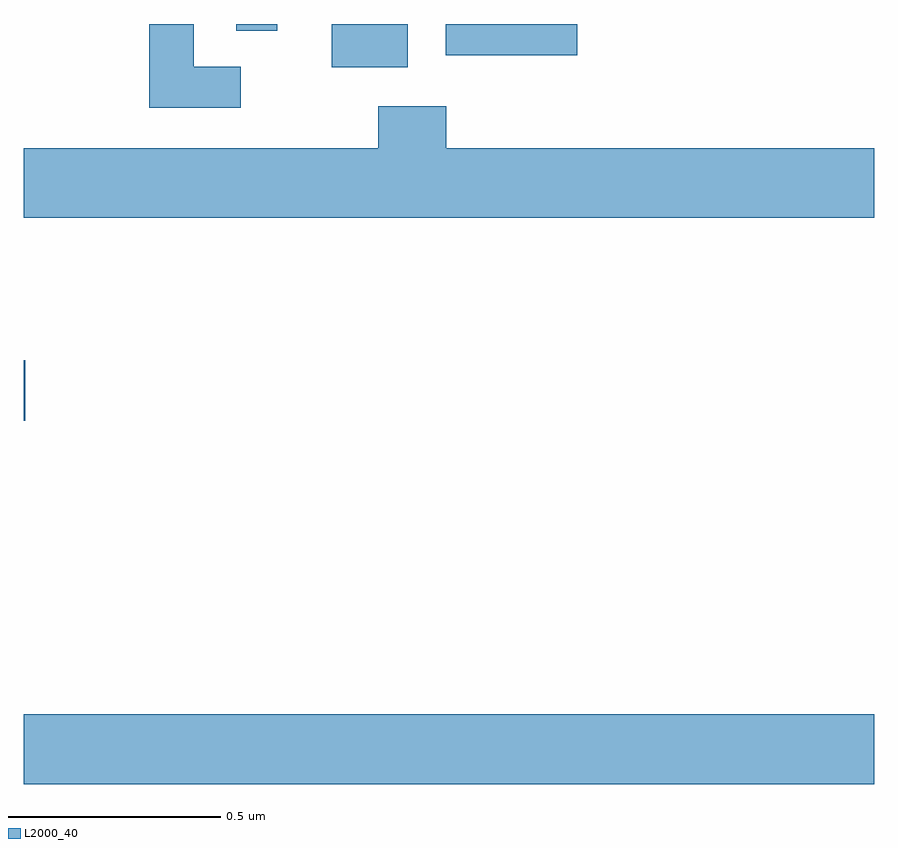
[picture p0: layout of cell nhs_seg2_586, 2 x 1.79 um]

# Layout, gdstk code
import gdstk
lib = gdstk.Library(unit=1e-6, precision=1e-09)
def R(c, l, rs):  # rectangles x0, y0, x1, y1
    for r in rs: c.add(gdstk.rectangle(r[:2], r[2:], *l))
def P(c, l, *ps):  # polygons
    for p in ps: c.add(gdstk.Polygon(p, *l))
L2000_40 = (2000, 40)

nhs_seg2_586 = lib.new_cell('nhs_seg2_586')
R(nhs_seg2_586, L2000_40, [(118,605.012,120,605.176), (118,605.867,118.003,606.009), (118.724,606.698,118.903,606.8), (118.992,606.727,119.302,606.8), (118.5,606.784,118.596,606.8)])
P(nhs_seg2_586, L2000_40, [(118.51,606.699),(118.399,606.699),(118.399,606.8),(118.295,606.8),(118.295,606.603),(118.51,606.603)],
  [(120,606.508),(118.994,606.508),(118.994,606.607),(118.834,606.607),(118.834,606.508),(118,606.508),(118,606.344),(120,606.344)])

lib.write_gds('nhs_seg2_586.gds')
